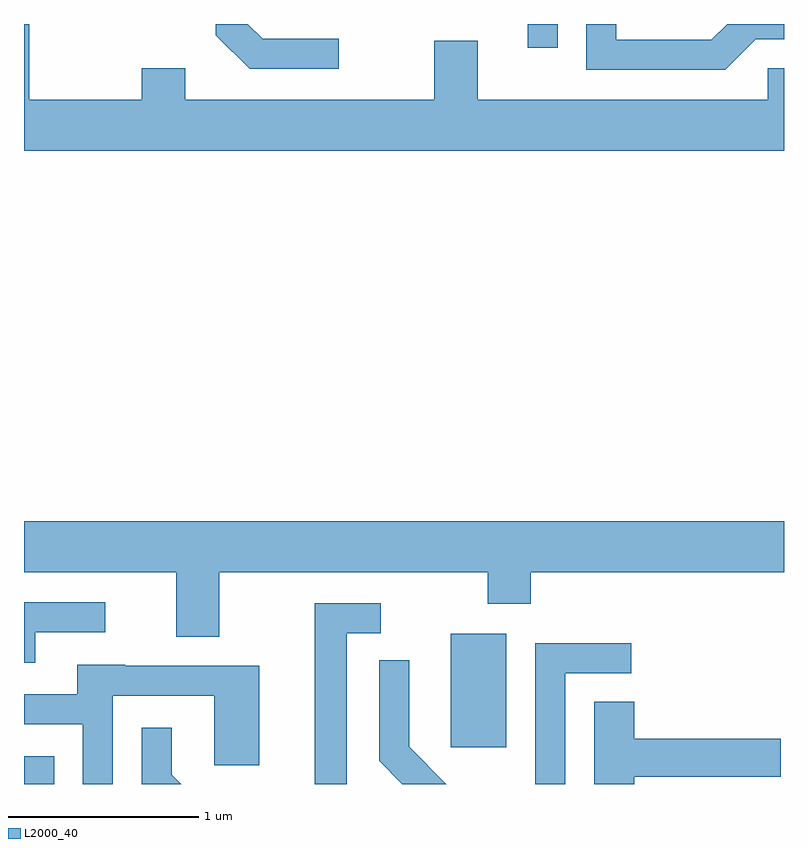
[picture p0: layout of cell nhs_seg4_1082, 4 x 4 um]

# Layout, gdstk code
import gdstk
lib = gdstk.Library(unit=1e-6, precision=1e-09)
def R(c, l, rs):  # rectangles x0, y0, x1, y1
    for r in rs: c.add(gdstk.rectangle(r[:2], r[2:], *l))
def P(c, l, *ps):  # polygons
    for p in ps: c.add(gdstk.Polygon(p, *l))
L2000_40 = (2000, 40)

nhs_seg4_1082 = lib.new_cell('nhs_seg4_1082')
R(nhs_seg4_1082, L2000_40, [(215.611,1377.982,215.769,1378.129), (217.856,1378.176,218.149,1378.774), (218.261,1381.858,218.419,1381.982)])
P(nhs_seg4_1082, L2000_40, [(219.611,1381.749),(219.526,1381.749),(219.526,1381.584),(217.999,1381.584),(217.999,1381.894),(217.771,1381.894),(217.771,1381.584),(216.459,1381.584),(216.459,1381.749),(216.231,1381.749),(216.231,1381.584),(215.639,1381.584),(215.639,1381.982),(215.611,1381.982),(215.611,1381.316),(219.611,1381.316)],
  [(217.268,1381.904),(216.867,1381.904),(216.789,1381.982),(216.621,1381.982),(216.621,1381.924),(216.799,1381.746),(217.268,1381.746)],
  [(219.462,1381.901),(219.611,1381.901),(219.611,1381.982),(219.312,1381.982),(219.229,1381.899),(218.729,1381.899),(218.729,1381.982),(218.571,1381.982),(218.571,1381.741),(219.302,1381.741)],
  [(216.639,1379.096),(218.051,1379.096),(218.051,1378.931),(218.279,1378.931),(218.279,1379.096),(219.611,1379.096),(219.611,1379.364),(215.611,1379.364),(215.611,1379.096),(216.411,1379.096),(216.411,1378.756),(216.639,1378.756)],
  [(215.669,1378.781),(216.038,1378.781),(216.038,1378.939),(215.611,1378.939),(215.611,1378.621),(215.669,1378.621)],
  [(217.309,1378.776),(217.488,1378.776),(217.488,1378.934),(217.141,1378.934),(217.141,1377.982),(217.309,1377.982)],
  [(218.459,1378.566),(218.808,1378.566),(218.808,1378.724),(218.301,1378.724),(218.301,1377.982),(218.459,1377.982)],
  [(217.639,1378.177),(217.639,1378.633),(217.481,1378.633),(217.481,1378.104),(217.603,1377.982),(217.834,1377.982)],
  [(216.079,1378.446),(216.611,1378.446),(216.611,1378.081),(216.849,1378.081),(216.849,1378.604),(216.145,1378.604),(216.145,1378.609),(215.891,1378.609),(215.891,1378.454),(215.611,1378.454),(215.611,1378.296),(215.921,1378.296),(215.921,1377.982),(216.079,1377.982)],
  [(218.824,1378.021),(219.594,1378.021),(219.594,1378.219),(218.824,1378.219),(218.824,1378.414),(218.611,1378.414),(218.611,1377.982),(218.824,1377.982)],
  [(216.389,1378.032),(216.389,1378.278),(216.231,1378.278),(216.231,1377.982),(216.439,1377.982)])

lib.write_gds('nhs_seg4_1082.gds')
